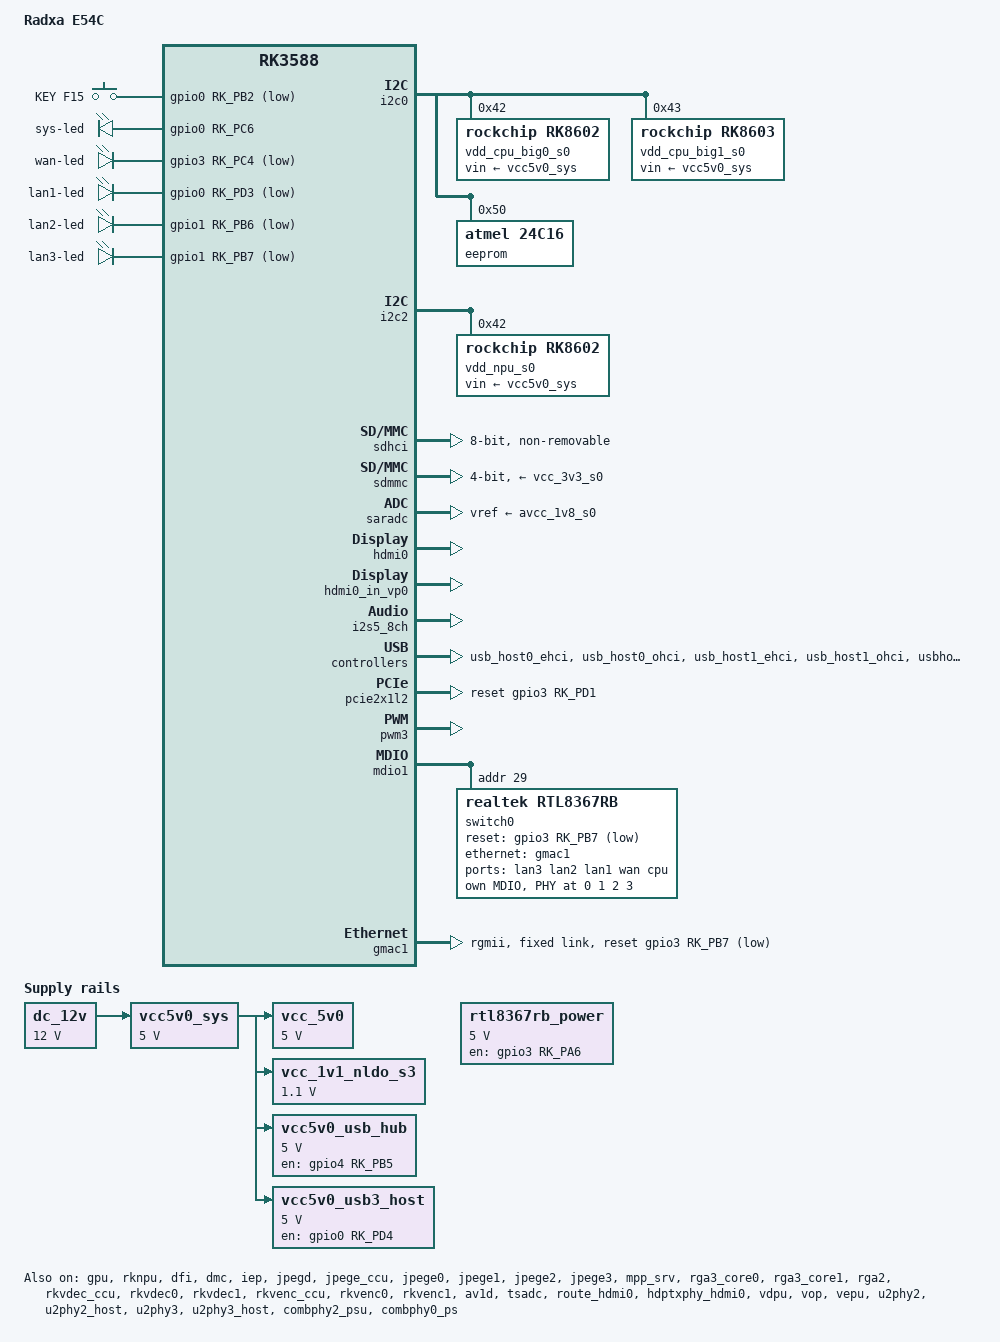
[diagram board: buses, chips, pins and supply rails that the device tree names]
// SPDX-License-Identifier: (GPL-2.0+ OR MIT)
/*
 * Copyright (c) 2024 Rockchip Electronics Co., Ltd.
 * Copyright (c) 2024 Radxa Computer (Shenzhen) Co., Ltd.
 *
 */

/dts-v1/;

#include "dt-bindings/usb/pd.h"
#include <dt-bindings/gpio/gpio.h>
#include <dt-bindings/leds/common.h>
#include <dt-bindings/pwm/pwm.h>
#include <dt-bindings/pinctrl/rockchip.h>
#include <dt-bindings/input/rk-input.h>
#include <dt-bindings/display/drm_mipi_dsi.h>
#include <dt-bindings/display/rockchip_vop.h>
#include <dt-bindings/sensor-dev.h>
#include "rk3588s.dtsi"
#include "rk3588-rk806-single.dtsi"
#include "rk3588-linux.dtsi"

/ {
	model = "Radxa E54C";
	compatible = "radxa,e54c", "rockchip,rk3588";

	dc_12v: dc-12v {
		compatible = "regulator-fixed";
		regulator-name = "vcc5v0_sys";
		regulator-always-on;
		regulator-boot-on;
		regulator-min-microvolt = <12000000>;
		regulator-max-microvolt = <12000000>;
	};

	vcc5v0_sys: vcc5v0-sys {
		compatible = "regulator-fixed";
		regulator-name = "vcc5v0_sys";
		regulator-min-microvolt = <5000000>;
		regulator-max-microvolt = <5000000>;
		regulator-always-on;
		regulator-boot-on;
		vin-supply = <&dc_12v>;
	};

	vcc_5v0: vcc-5v0 {
		compatible = "regulator-fixed";
		regulator-name = "vcc_5v0";
		regulator-min-microvolt = <5000000>;
		regulator-max-microvolt = <5000000>;
		regulator-boot-on;
		regulator-always-on;
		vin-supply = <&vcc5v0_sys>;
	};

	vcc_1v1_nldo_s3: vcc-1v1-nldo-s3 {
		compatible = "regulator-fixed";
		regulator-name = "vcc_1v1_nldo_s3";
		regulator-always-on;
		regulator-boot-on;
		regulator-min-microvolt = <1100000>;
		regulator-max-microvolt = <1100000>;
		vin-supply = <&vcc5v0_sys>;
	};

	hdmi0_sound: hdmi0-sound {
		status = "okay";
		compatible = "rockchip,hdmi";
		rockchip,mclk-fs = <128>;
		rockchip,card-name = "rockchip-hdmi0";
		rockchip,cpu = <&i2s5_8ch>;
		rockchip,codec = <&hdmi0>;
		rockchip,jack-det;
	};

	vcc5v0_usb_hub: vcc5v0-usb-hub-regulator {
		compatible = "regulator-fixed";
		regulator-name = "vcc5v0_usb_hub";
		regulator-min-microvolt = <5000000>;
		regulator-max-microvolt = <5000000>;
		enable-active-high;
		gpio = <&gpio4 RK_PB5 GPIO_ACTIVE_HIGH>;
		pinctrl-names = "default";
		pinctrl-0 = <&vcc5v0_usb_hub_en>;
		vin-supply = <&vcc5v0_sys>;
	};

	vcc5v0_usb3_host: vcc5v0-usb3-host-regulator {
		compatible = "regulator-fixed";
		regulator-name = "vcc5v0_usb3_host";
		regulator-min-microvolt = <5000000>;
		regulator-max-microvolt = <5000000>;
		enable-active-high;
		gpio = <&gpio0 RK_PD4 GPIO_ACTIVE_HIGH>;
		pinctrl-names = "default";
		pinctrl-0 = <&vcc5v0_usb3_host_en>;
		vin-supply = <&vcc5v0_sys>;
	};

	rtl8367rb_power: rtl8367rb-power-regulator {
		compatible = "regulator-fixed";
		regulator-name = "rtl8367rb_power";
		regulator-min-microvolt = <5000000>;
		regulator-max-microvolt = <5000000>;
		enable-active-high;
		regulator-boot-on;
		regulator-always-on;
		gpio = <&gpio3 RK_PA6 GPIO_ACTIVE_HIGH>;
		pinctrl-names = "default";
		pinctrl-0 = <&rtl8367rb_power_en>;
	};

	gpio-keys {
		compatible = "gpio-keys";
		pinctrl-names = "default";
		pinctrl-0 = <&user_key>;
		autorepeat;

		user-key {
			label = "KEY F15";
			linux,code = <KEY_F15>;
			gpios = <&gpio0 RK_PB2 GPIO_ACTIVE_LOW>;
			debounce-interval = <50>;
		};
	};

	gpio-leds {
		compatible = "gpio-leds";

		sys-led {
			gpios = <&gpio0 RK_PC6 GPIO_ACTIVE_HIGH>;
			linux,default-trigger = "heartbeat";
		};

		wan-led {
			gpios = <&gpio3 RK_PC4 GPIO_ACTIVE_LOW>;
			linux,default-trigger = "netdev";
		};

		lan1-led {
			gpios = <&gpio0 RK_PD3 GPIO_ACTIVE_LOW>;
			linux,default-trigger = "netdev";
		};

		lan2-led {
			gpios = <&gpio1 RK_PB6 GPIO_ACTIVE_LOW>;
			linux,default-trigger = "netdev";
		};

		lan3-led {
			gpios = <&gpio1 RK_PB7 GPIO_ACTIVE_LOW>;
			linux,default-trigger = "netdev";
		};
	};
};

&i2c0 {
	status = "okay";
	pinctrl-names = "default";
	pinctrl-0 = <&i2c0m2_xfer>;

	vdd_cpu_big0_s0: vdd_cpu_big0_mem_s0: rk8602@42 {
		compatible = "rockchip,rk8602";
		reg = <0x42>;
		vin-supply = <&vcc5v0_sys>;
		regulator-compatible = "rk860x-reg";
		regulator-name = "vdd_cpu_big0_s0";
		regulator-min-microvolt = <550000>;
		regulator-max-microvolt = <1050000>;
		regulator-ramp-delay = <2300>;
		rockchip,suspend-voltage-selector = <1>;
		regulator-boot-on;
		regulator-always-on;
		regulator-state-mem {
			regulator-off-in-suspend;
		};
	};

	vdd_cpu_big1_s0: vdd_cpu_big1_mem_s0: rk8603@43 {
		compatible = "rockchip,rk8603";
		reg = <0x43>;
		vin-supply = <&vcc5v0_sys>;
		regulator-compatible = "rk860x-reg";
		regulator-name = "vdd_cpu_big1_s0";
		regulator-min-microvolt = <550000>;
		regulator-max-microvolt = <1050000>;
		regulator-ramp-delay = <2300>;
		rockchip,suspend-voltage-selector = <1>;
		regulator-boot-on;
		regulator-always-on;
		regulator-state-mem {
			regulator-off-in-suspend;
		};
	};

	fan0: pwm-fan {
		compatible = "pwm-fan";
		#cooling-cells = <2>;
		cooling-levels = <0 64 128 192 255>;
		pwms = <&pwm3 0 10000 0>;
	};

	eeprom:	bl24c16@50 {
		status = "okay";
		compatible = "atmel,24c16";
		reg = <0x50>;
		pagesize = <16>;
	};
};

&i2c2 {
	status = "okay";
	pinctrl-names = "default";
	pinctrl-0 = <&i2c2m0_xfer>;

	vdd_npu_s0: vdd_npu_mem_s0: rk8602@42 {
		compatible = "rockchip,rk8602";
		reg = <0x42>;
		vin-supply = <&vcc5v0_sys>;
		regulator-compatible = "rk860x-reg";
		regulator-name = "vdd_npu_s0";
		regulator-min-microvolt = <550000>;
		regulator-max-microvolt = <950000>;
		regulator-ramp-delay = <2300>;
		rockchip,suspend-voltage-selector = <1>;
		regulator-boot-on;
		regulator-always-on;
		regulator-state-mem {
			regulator-off-in-suspend;
		};
	};
};

&cpu_l0 {
	cpu-supply = <&vdd_cpu_lit_s0>;
	mem-supply = <&vdd_cpu_lit_mem_s0>;
};

&cpu_b0 {
	cpu-supply = <&vdd_cpu_big0_s0>;
	mem-supply = <&vdd_cpu_big0_mem_s0>;
};

&cpu_b2 {
	cpu-supply = <&vdd_cpu_big1_s0>;
	mem-supply = <&vdd_cpu_big1_mem_s0>;
};

&gpu {
	mali-supply = <&vdd_gpu_s0>;
	mem-supply = <&vdd_gpu_mem_s0>;
	status = "okay";
};

&rknpu {
	rknpu-supply = <&vdd_npu_s0>;
	mem-supply = <&vdd_npu_mem_s0>;
	status = "okay";
};

&dfi {
	status = "okay";
};

&dmc {
	status = "okay";
	center-supply = <&vdd_ddr_s0>;
	mem-supply = <&vdd_log_s0>;
};

&rknpu_mmu {
	status = "okay";
};

&iep {
	status = "okay";
};

&iep_mmu {
	status = "okay";
};

&jpegd {
	status = "okay";
};

&jpegd_mmu {
	status = "okay";
};

&jpege_ccu {
	status = "okay";
};

&jpege0 {
	status = "okay";
};

&jpege0_mmu {
	status = "okay";
};

&jpege1 {
	status = "okay";
};

&jpege1_mmu {
	status = "okay";
};

&jpege2 {
	status = "okay";
};

&jpege2_mmu {
	status = "okay";
};

&jpege3 {
	status = "okay";
};

&jpege3_mmu {
	status = "okay";
};

&mpp_srv {
	status = "okay";
};

&rga3_core0 {
	status = "okay";
};

&rga3_0_mmu {
	status = "okay";
};

&rga3_core1 {
	status = "okay";
};

&rga3_1_mmu {
	status = "okay";
};

&rga2 {
	status = "okay";
};

&rkvdec_ccu {
	status = "okay";
};

&rkvdec0 {
	status = "okay";
};

&rkvdec0_mmu {
	status = "okay";
};

&rkvdec1 {
	status = "okay";
};

&rkvdec1_mmu {
	status = "okay";
};

&rkvenc_ccu {
	status = "okay";
};

&rkvenc0 {
	status = "okay";
};

&rkvenc0_mmu {
	status = "okay";
};

&rkvenc1 {
	status = "okay";
};

&rkvenc1_mmu {
	status = "okay";
};

&av1d {
	status = "okay";
};

&av1d_mmu {
	status = "okay";
};

&sdhci {
	bus-width = <8>;
	no-sdio;
	no-sd;
	non-removable;
	max-frequency = <200000000>;
	mmc-hs200-1_8v;
	mmc-hs400-1_8v;
	mmc-hs400-enhanced-strobe;
	status = "okay";
};

&sdmmc {
	max-frequency = <200000000>;
	no-sdio;
	no-mmc;
	bus-width = <4>;
	cap-mmc-highspeed;
	cap-sd-highspeed;
	disable-wp;
	sd-uhs-sdr104;
	vmmc-supply = <&vcc_3v3_s0>;
	vqmmc-supply = <&vccio_sd_s0>;
	pinctrl-names = "default";
	pinctrl-0 = <&sdmmc_bus4 &sdmmc_clk &sdmmc_cmd &sdmmc_det>;
	status = "okay";
};

&tsadc {
	status = "okay";
};

&saradc {
	status = "okay";
	vref-supply = <&avcc_1v8_s0>;
};

&hdmi0 {
	status = "okay";
	cec-enable = "true";
	enable-gpios = <&gpio4 RK_PB6 GPIO_ACTIVE_HIGH>;
	pinctrl-names = "default";
	pinctrl-0 = <&hdmim0_tx0_cec &hdmim1_tx0_hpd &hdmim0_tx0_scl &hdmim0_tx0_sda>;
};

&hdmi0_in_vp0 {
	status = "okay";
};

&route_hdmi0 {
	status = "okay";
};

&hdptxphy_hdmi0 {
	status = "okay";
};

&i2s5_8ch {
	status = "okay";
};

&vdpu {
	status = "okay";
};

&vdpu_mmu {
	status = "okay";
};

&vop {
	status = "okay";
};

&vop_mmu {
	status = "okay";
};

&vepu {
	status = "okay";
};

/* vp0 & vp1 splice for 8K output */
&vp0 {
	rockchip,plane-mask = <(1 << ROCKCHIP_VOP2_CLUSTER0 | 1 << ROCKCHIP_VOP2_ESMART0)>;
	rockchip,primary-plane = <ROCKCHIP_VOP2_CLUSTER0>;
	cursor-win-id = <ROCKCHIP_VOP2_ESMART0>;
};

&vp1 {
	rockchip,plane-mask = <(1 << ROCKCHIP_VOP2_CLUSTER1 | 1 << ROCKCHIP_VOP2_ESMART1)>;
	rockchip,primary-plane = <ROCKCHIP_VOP2_CLUSTER1>;
	cursor-win-id = <ROCKCHIP_VOP2_ESMART1>;
};

&vp2 {
	rockchip,plane-mask = <(1 << ROCKCHIP_VOP2_CLUSTER2 | 1 << ROCKCHIP_VOP2_ESMART2)>;
	rockchip,primary-plane = <ROCKCHIP_VOP2_CLUSTER2>;
	cursor-win-id = <ROCKCHIP_VOP2_ESMART2>;
};

&vp3 {
	rockchip,plane-mask = <(1 << ROCKCHIP_VOP2_CLUSTER3 | 1 << ROCKCHIP_VOP2_ESMART3)>;
	rockchip,primary-plane = <ROCKCHIP_VOP2_CLUSTER3>;
	cursor-win-id = <ROCKCHIP_VOP2_ESMART3>;
};

&display_subsystem {
	clocks = <&hdptxphy_hdmi0>;
	clock-names = "hdmi0_phy_pll";
};

&hdptxphy_hdmi0 {
	status = "okay";
};

&usb_host0_ehci {
	status = "okay";
};

&usb_host0_ohci {
	status = "okay";
};

&usb_host1_ehci {
	status = "okay";
};

&usb_host1_ohci {
	status = "okay";
};

&u2phy2 {
	status = "okay";
};

&u2phy2_host {
	status = "okay";
	phy-supply = <&vcc5v0_usb_hub>;
};

&u2phy3 {
	status = "okay";
};

&u2phy3_host {
	status = "okay";
	phy-supply = <&vcc5v0_usb3_host>;
};

&combphy2_psu {
	status = "okay";
};

&usbhost3_0 {
	status = "okay";
};

&usbhost_dwc3_0 {
	status = "okay";
};

/* M.2 M-KEY PCIe */
&combphy0_ps {
	status = "okay";
};

&pcie2x1l2 {
	status = "okay";
	reset-gpios = <&gpio3 RK_PD1 GPIO_ACTIVE_HIGH>;
};

&pwm3 {
	status = "okay";
	pinctrl-0 = <&pwm3m1_pins>;
};

&threshold {
	temperature = <60000>;
};

&soc_thermal {
	sustainable-power = <5000>; /* milliwatts */
	cooling-maps {
		map4 {
			trip = <&target>;
			cooling-device =
				<&fan0 THERMAL_NO_LIMIT THERMAL_NO_LIMIT>;
			contribution = <8192>;
		};
		map5 {
			trip = <&threshold>;
			cooling-device =
				<&fan0 THERMAL_NO_LIMIT THERMAL_NO_LIMIT>;
			contribution = <8192>;
		};
	};
};

&rockchip_suspend {
	compatible = "rockchip,pm-rk3588";
	status = "okay";
	rockchip,sleep-debug-en = <1>;
	rockchip,sleep-mode-config = <
		(0
		| RKPM_SLP_ARMOFF_DDRPD
		)
	>;
	rockchip,wakeup-config = <
		(0
		| RKPM_GPIO_WKUP_EN
		| RKPM_USB_WKUP_EN
		)
	>;
};

&avdd_0v75_s0 {
	regulator-state-mem {
		regulator-on-in-suspend;
		regulator-suspend-microvolt = <837500>;
	};
};

&avcc_1v8_s0 {
	regulator-state-mem {
		regulator-on-in-suspend;
		regulator-suspend-microvolt = <1800000>;
	};
};

&vcc_1v8_s0 {
	regulator-state-mem {
		regulator-on-in-suspend;
		regulator-suspend-microvolt = <1800000>;
	};
};

&vcc_3v3_s0 {
	regulator-state-mem {
		regulator-on-in-suspend;
		regulator-suspend-microvolt = <3300000>;
	};
};

&vdd_log_s0 {
	regulator-state-mem {
		regulator-on-in-suspend;
		regulator-suspend-microvolt = <750000>;
	};
};

&vdd_ddr_pll_s0 {
	regulator-state-mem {
		regulator-on-in-suspend;
		regulator-suspend-microvolt = <850000>;
	};
};

&mdio1 {
	switch0: switch0@29 {
		compatible = "realtek,rtl8367rb", "realtek,rtl8365mb";
		#address-cells = <1>;
		#size-cells = <0>;
		reg = <29 0>;
		dsa,member = <1 0>;
		reset = <&gpio3 RK_PB7 GPIO_ACTIVE_LOW>;

		ports {
			#address-cells = <1>;
			#size-cells = <0>;

			port@0 {
				reg = <0>;
				label = "lan3";
				local-mac-address = [00 48 54 20 00 03];
				phy-handle = <&phy0>;
			};

			port@1 {
				reg = <1>;
				label = "lan2";
				local-mac-address = [00 48 54 20 00 02];
				phy-handle = <&phy1>;
			};

			port@2 {
				reg = <2>;
				label = "lan1";
				local-mac-address = [00 48 54 20 00 01];
				phy-handle = <&phy2>;
			};

			port@3 {
				reg = <3>;
				label = "wan";
				local-mac-address = [00 48 54 20 00 00];
				phy-handle = <&phy3>;
			};

			rtl8367rb_cpu_port: port@6 {
				reg = <6>;
				label = "cpu";
				ethernet = <&gmac1>;
				local-mac-address = [00 48 54 20 00 33];
				phy-mode = "rgmii";
				tx-internal-delay-ps = <2000>;
				rx-internal-delay-ps = <2000>;

				fixed-link {
					speed = <1000>;
					full-duplex;
					pause;
				};
			};
		};

		mdio {
			compatible = "realtek,smi-mdio";
			#address-cells = <1>;
			#size-cells = <0>;

			phy0: phy@0 {
				reg = <0>;
			};

			phy1: phy@1 {
				reg = <1>;
			};

			phy2: phy@2 {
				reg = <2>;
			};

			phy3: phy@3 {
				reg = <3>;
			};
		};
	};
};

&gmac1 {
	status = "okay";
	phy-mode = "rgmii";
	clock_in_out = "output";

	snps,reset-gpio = <&gpio3 RK_PB7 GPIO_ACTIVE_LOW>;
	snps,reset-active-low;
	/* Reset time is 20ms, 100ms for rtl8367rb */
	snps,reset-delays-us = <0 20000 100000>;

	pinctrl-names = "default";
	pinctrl-0 = <&gmac1_miim
		     &gmac1_tx_bus2
		     &gmac1_rx_bus2
		     &gmac1_rgmii_clk
		     &gmac1_rgmii_bus>;

	tx_delay = <0>;
	rx_delay = <0>;

	fixed-link {
		speed = <1000>;
		full-duplex;
		pause;
	};
};

&pinctrl {
	usb {
		vcc5v0_usb_hub_en: vcc5v0-usb-hub-en {
			rockchip,pins = <4 RK_PB5 RK_FUNC_GPIO &pcfg_pull_none>;
		};

		vcc5v0_usb3_host_en: vcc5v0-usb3-host-en {
			rockchip,pins = <0 RK_PD4 RK_FUNC_GPIO &pcfg_pull_none>;
		};
	};

	keys {
		user_key: user-key {
			rockchip,pins = <0 RK_PB2 RK_FUNC_GPIO &pcfg_pull_up>;
		};
	};

	rtl8367rb {
		rtl8367rb_power_en: rtl8367rb-power-en {
			rockchip,pins = <3 RK_PA6 RK_FUNC_GPIO &pcfg_pull_none>;
		};
	};
};
